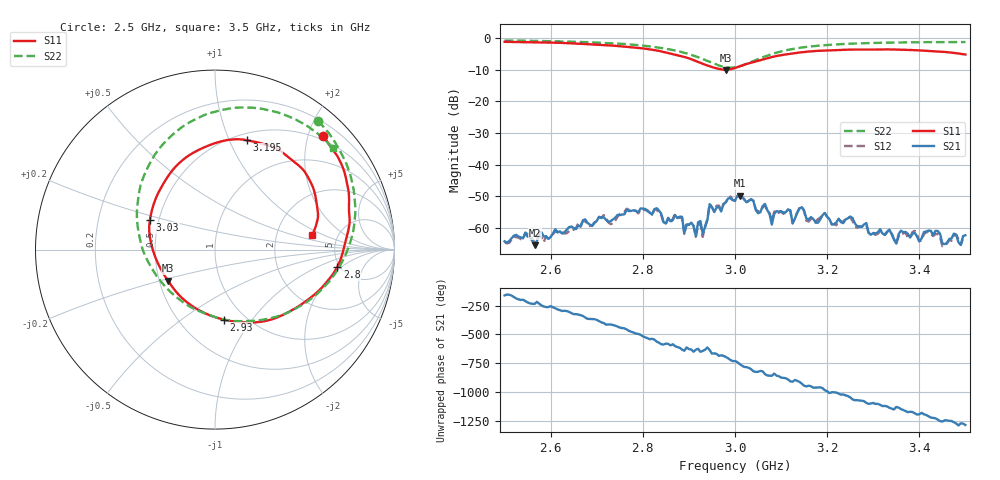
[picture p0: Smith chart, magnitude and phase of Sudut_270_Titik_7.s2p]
# Hz S RI R 50
! CMT, C1220, 16058040, 17.2.0/1
! Date: 15/08/2018 10:10:41
! Data: Format (Calibration Info)
! Freq  S11: Re/Im (F2)  S21: Re/Im (F2)  S12: Re/Im (F2)  S22: Re/Im (F2)
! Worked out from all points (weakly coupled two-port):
!   201 points, 2.5 GHz to 3.5 GHz, reference 50 ohm
!   highest |S21| = -49.80 dB at 3.01 GHz (marker M1); lowest = -65.6 dB at 2.565 GHz (marker M2)
!   lowest |S11| = -10.1 dB at 2.98 GHz (marker M3), VSWR 1.92, Z = 27.8 - j10.7 ohm
!   |S11| at or under -10 dB: 2.97426 GHz to 2.984058 GHz (9.798 MHz wide, 0.329 % of centre)
!   |S22| runs from -9.3 to -0.7 dB; largest |S21 - S12| = 0.00024
!   S11 on the Smith chart (normalised r, x): 2.5 GHz: 0.42, +2.25; 2.8 GHz: 4.75, -1.74; 2.93 GHz: 0.80, -0.74; 3.03 GHz: 0.45, +0.18; 3.195 GHz: 0.57, +1.17; 3.5 GHz: 3.23, +0.78
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2.5e9  0.5997 0.6349  -0.00058 -0.00019  -0.000559 -0.000209  0.5734 0.7164
2.565e9  0.6676 0.5417  -0.000296 0.000434  -0.000273 0.000511  0.6456 0.6331
2.67e9  0.7454 0.317  0.00123 0.000454  0.00118 0.000457  0.745 0.4437
2.8e9  0.6814 -0.0961  -0.00184 -0.000804  -0.00174 -0.000774  0.7588 0.0585
2.835e9  0.5876 -0.2199  -0.00159 0.000986  -0.00145 0.000902  0.7029 -0.0783
2.93e9  0.0476 -0.3898  0.000171 0.000789  0.0001 0.000712  0.2547 -0.3924
2.945e9  -0.0589 -0.3535  0.000203 0.00236  0.00016 0.00236  0.1402 -0.3988
2.98e9  -0.2621 -0.1736  0.00228 0.00111  0.00226 0.00115  -0.1376 -0.3193
3e9  -0.3354 -0.0358  0.00265 -0.000451  0.0026 -0.000548  -0.2733 -0.2103
3.01e9  -0.3553 0.0329  0.00263 -0.00189  0.00249 -0.00187  -0.3286 -0.1422
3.03e9  -0.3629 0.1665  0.000944 -0.0025  0.00093 -0.00254  -0.4057 0.00894
3.065e9  -0.2849 0.3719  -0.00129 -0.002  -0.00119 -0.00192  -0.428 0.283
3.08e9  -0.2374 0.4418  -0.000835 -0.000754  -0.000911 -0.000873  -0.4046 0.3889
3.115e9  -0.1048 0.5483  -0.00191 -0.000387  -0.00192 -0.000253  -0.296 0.5798
3.125e9  -0.0645 0.568  -0.00117 0.00018  -0.00114 0.000249  -0.2566 0.6212
3.145e9  0.0127 0.5969  -0.00191 0.000936  -0.00188 0.00107  -0.1774 0.6873
3.17e9  0.0986 0.6137  -0.000674 0.0012  -0.000758 0.0012  -0.0768 0.7419
3.195e9  0.1787 0.6091  -0.000196 0.00169  -0.000142 0.00171  0.0171 0.7725
3.335e9  0.494 0.4411  0.000543 -0.000761  0.000561 -0.000744  0.4086 0.743
3.35e9  0.512 0.4143  0.000379 -0.000415  0.000307 -0.000464  0.4379 0.7306
3.36e9  0.5228 0.3949  0.00037 -0.000823  0.000403 -0.000721  0.457 0.7205
3.5e9  0.543 0.084  -0.000695 0.000312  -0.00059 0.000346  0.6573 0.5641
